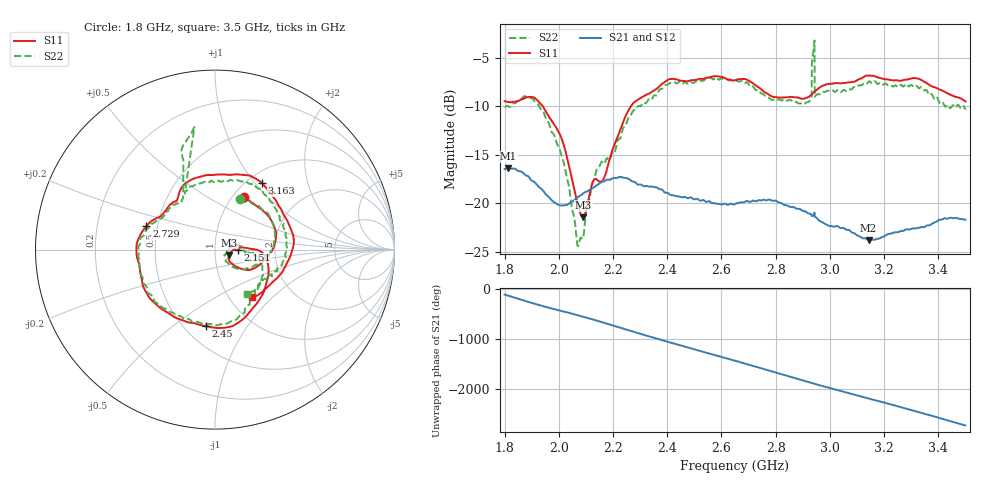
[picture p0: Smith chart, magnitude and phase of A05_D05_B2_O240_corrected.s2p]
! Created with skrf 1.9.0 (http://scikit-rf.org).
# Hz S RI R 50.0
!freq ReS11 ImS11 ReS21 ImS21 ReS12 ImS12 ReS22 ImS22
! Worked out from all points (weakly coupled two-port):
!   1601 points, 1.8 GHz to 3.5 GHz, reference 50 ohm
!   highest |S21| = -16.37 dB at 1.814 GHz (marker M1); lowest = -23.8 dB at 3.143 GHz (marker M2)
!   lowest |S11| = -21.4 dB at 2.09 GHz (marker M3), VSWR 1.19, Z = 58.5 - j3.54 ohm
!   |S11| at or under -10 dB: 1.941 GHz to 2.265 GHz (324.1 MHz wide, 15.4 % of centre)
!   |S22| runs from -24.4 to -3.2 dB; largest |S21 - S12| = 0.0028
!   S11 on the Smith chart (normalised r, x): 1.8 GHz: 1.13, +0.75; 2.151 GHz: 1.30, +0.00; 2.45 GHz: 0.63, -0.66; 2.729 GHz: 0.43, +0.14; 3.163 GHz: 1.16, +1.09; 3.5 GHz: 1.27, -0.76
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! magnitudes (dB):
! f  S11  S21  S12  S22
! 1.8 GHz  -9.5  -16.5  -16.5  -10.1
! 1.814 GHz  -9.6  -16.4  -16.4  -10.0
! 1.942 GHz  -10.0  -18.7  -18.7  -10.5
! 2.013 GHz  -13.5  -20.2  -20.2  -15.3
! 2.068 GHz  -19.8  -19.4  -19.4  -24.2
! 2.084 GHz  -21.3  -19.1  -19.1  -23.6
! 2.09 GHz  -21.4  -19.0  -19.0  -23.5
! 2.151 GHz  -17.8  -17.9  -17.9  -16.2
! 2.263 GHz  -10.1  -17.6  -17.6  -11.0
! 2.367 GHz  -8.0  -18.5  -18.4  -8.5
! 2.45 GHz  -7.3  -19.3  -19.3  -7.5
! 2.65 GHz  -7.3  -20.1  -20.1  -7.4
! 2.729 GHz  -7.9  -19.8  -19.8  -8.3
! 2.904 GHz  -9.2  -20.8  -20.8  -9.8
! 2.924 GHz  -9.0  -21.1  -21.0  -9.5
! 2.934 GHz  -8.7  -21.3  -21.3  -5.6
! 2.942 GHz  -8.5  -21.0  -21.0  -3.6
! 2.953 GHz  -8.3  -21.5  -21.5  -8.7
! 3.143 GHz  -6.8  -23.8  -23.7  -7.4
! 3.163 GHz  -6.9  -23.8  -23.7  -7.4
! 3.217 GHz  -7.2  -23.2  -23.1  -7.8
! 3.5 GHz  -9.5  -21.7  -21.7  -10.3
